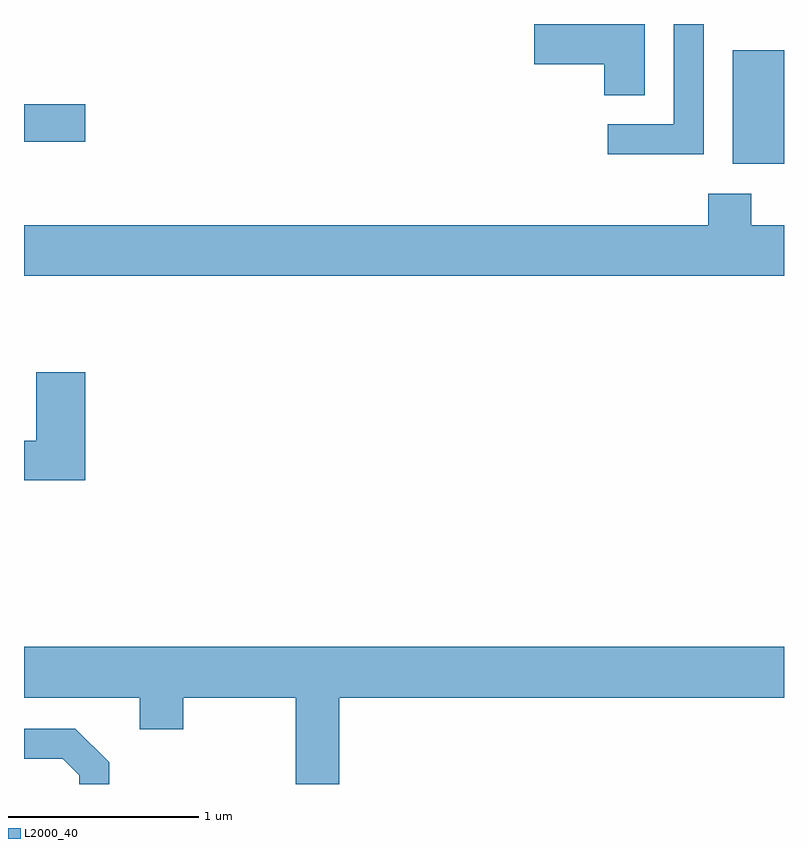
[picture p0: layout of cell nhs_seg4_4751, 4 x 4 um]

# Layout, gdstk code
import gdstk
lib = gdstk.Library(unit=1e-6, precision=1e-09)
def R(c, l, rs):  # rectangles x0, y0, x1, y1
    for r in rs: c.add(gdstk.rectangle(r[:2], r[2:], *l))
def P(c, l, *ps):  # polygons
    for p in ps: c.add(gdstk.Polygon(p, *l))
L2000_40 = (2000, 40)

nhs_seg4_4751 = lib.new_cell('nhs_seg4_4751')
R(nhs_seg4_4751, L2000_40, [(327.341,1375.246,327.611,1375.844), (323.611,1375.361,323.934,1375.559)])
P(nhs_seg4_4751, L2000_40, [(326.879,1375.982),(326.296,1375.982),(326.296,1375.771),(326.666,1375.771),(326.666,1375.606),(326.879,1375.606)],
  [(327.189,1375.982),(327.031,1375.982),(327.031,1375.454),(326.683,1375.454),(326.683,1375.296),(327.189,1375.296)],
  [(327.611,1374.924),(327.439,1374.924),(327.439,1375.089),(327.211,1375.089),(327.211,1374.924),(323.611,1374.924),(323.611,1374.656),(327.611,1374.656)],
  [(323.934,1374.149),(323.676,1374.149),(323.676,1373.789),(323.611,1373.789),(323.611,1373.581),(323.934,1373.581)],
  [(325.269,1372.436),(327.611,1372.436),(327.611,1372.704),(323.611,1372.704),(323.611,1372.436),(324.221,1372.436),(324.221,1372.271),(324.449,1372.271),(324.449,1372.436),(325.041,1372.436),(325.041,1371.982),(325.269,1371.982)],
  [(324.059,1372.097),(323.882,1372.274),(323.611,1372.274),(323.611,1372.116),(323.814,1372.116),(323.901,1372.029),(323.901,1371.982),(324.059,1371.982)])

lib.write_gds('nhs_seg4_4751.gds')
